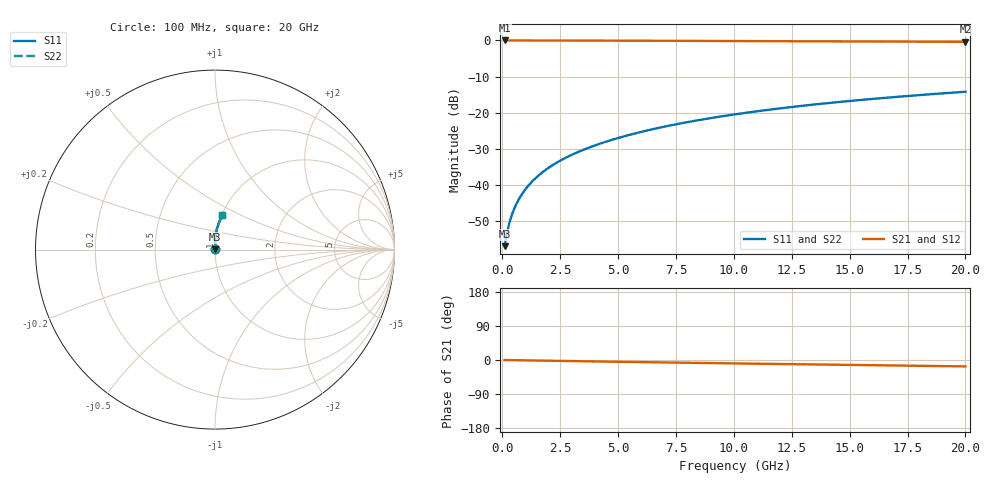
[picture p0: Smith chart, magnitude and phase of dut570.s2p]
! Touchstone file exported from HFSS 2024.1.0
!  File:  C:/UserFiles/LocalFiles/RDL_TSV_Batchsim/temp_RDL_bottom_570_1779690183.aedt
!  Generated:  02:25:32 PM May 25, 2026
!  Design:  RDL_bottom
!  Project:  temp_RDL_bottom_570_1779690183
!  Setup:  Setup1
!  Solution:  Sweep
! Variables:
!  dtsv = 10.80580581um
!  hbump = 3um
!  htsv = 78.76um
!  ldown = 190.48um
!  lrdl = 100um
!  p = 40
!  p1 = 56.25um
!  rhole = 1um
!  t = 450um
!  tdown = 3.42um
!  trdl = 3.915915916um
!  wdown = 23.1um
!  wrdl = 20um
# GHz S MA R 50.000000
! Terminal data exported
! Port[1] = RDL1_T1
! Port[2] = RDL1_T2
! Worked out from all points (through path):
!   200 points, 100 MHz to 20 GHz, reference 50 ohm
!   highest |S21| = -0.01 dB at 100 MHz (marker M1); lowest = -0.4 dB at 20 GHz (marker M2)
!   group delay of S21, straight-line fit = 2.32 ps
!   lowest |S11| = -56.9 dB at 100 MHz (marker M3), VSWR 1.00, Z = 50.1 + j0.0926 ohm
!   |S11| at or under -10 dB: start of sweep to end of sweep
!   |S22| runs from -56.9 to -14.2 dB; largest |S21 - S12| = 5.1e-15
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0.1  0.001427 40.4  0.9989 -0.1  0.9989 -0.1  0.001427 40.4
! Gamma 0 0 0 0
! Port Impedance 50 0 50 0
0.2  0.002146 58.3  0.9989 -0.2  0.9989 -0.2  0.002146 58.3
0.3  0.002943 66.5  0.9988 -0.3  0.9988 -0.3  0.002943 66.5
0.4  0.003756 71.2  0.9987 -0.4  0.9987 -0.4  0.003756 71.2
0.5  0.004576 74.4  0.9987 -0.5  0.9987 -0.5  0.004576 74.4
0.6  0.0054 76.6  0.9986 -0.6  0.9986 -0.6  0.0054 76.6
0.8  0.007062 79.7  0.9985 -0.8  0.9985 -0.8  0.007062 79.7
1.1  0.009587 82.5  0.9983 -1.1  0.9983 -1.1  0.009587 82.5
1.5  0.013 84.7  0.998 -1.5  0.998 -1.5  0.013 84.7
1.8  0.01558 85.8  0.9977 -1.7  0.9977 -1.7  0.01558 85.8
2.1  0.01819 86.5  0.9973 -2.0  0.9973 -2.0  0.01819 86.5
2.7  0.02349 87.6  0.9965 -2.6  0.9965 -2.6  0.02349 87.6
3.5  0.03069 88.4  0.9952 -3.3  0.9952 -3.3  0.03069 88.4
4.2  0.03715 88.8  0.9939 -4.0  0.9939 -4.0  0.03715 88.8
5  0.04469 88.9  0.9922 -4.7  0.9922 -4.7  0.04469 88.9
5.9  0.05336 88.8  0.9902 -5.5  0.9902 -5.5  0.05336 88.8
6.8  0.0622 88.5  0.9881 -6.3  0.9881 -6.3  0.0622 88.5
8.4  0.07822 87.7  0.9842 -7.7  0.9842 -7.7  0.07822 87.7
10.1  0.09551 86.4  0.9801 -9.1  0.9801 -9.1  0.09551 86.4
13.4  0.1292 83.6  0.9723 -11.7  0.9723 -11.7  0.1292 83.6
16.7  0.1624 80.6  0.9644 -14.3  0.9644 -14.3  0.1624 80.6
20  0.1949 77.6  0.9562 -16.9  0.9562 -16.9  0.1949 77.6
